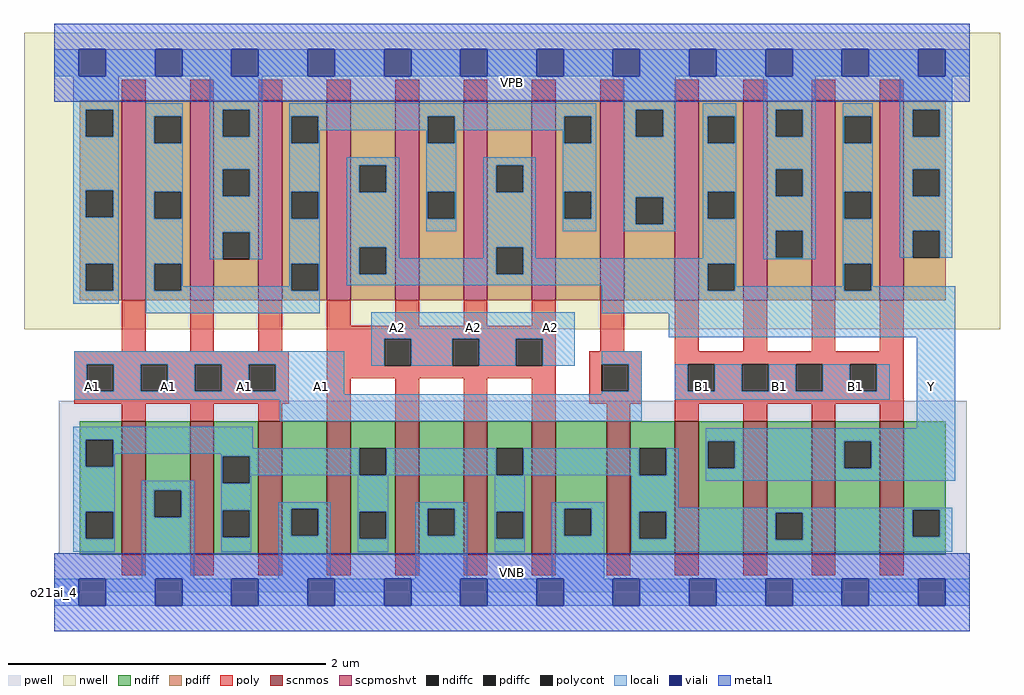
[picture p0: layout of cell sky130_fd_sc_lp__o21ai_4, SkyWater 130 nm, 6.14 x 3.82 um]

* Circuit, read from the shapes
.subckt sky130_fd_sc_lp__o21ai_4 A1 A2 B1 VGND VNB VPB VPWR Y
XM1 VGND A1 n1 VNB sky130_fd_pr__nfet_01v8 w=0.84 l=0.15 m=4
XM2 n1 A2 VGND VNB sky130_fd_pr__nfet_01v8 w=0.84 l=0.15 m=4
XM3 Y B1 n1 VNB sky130_fd_pr__nfet_01v8 w=0.84 l=0.15 m=4
XM4 n2 A1 VPWR VPB sky130_fd_pr__pfet_01v8_hvt w=1.26 l=0.15 m=4
XM5 Y A2 n2 VPB sky130_fd_pr__pfet_01v8_hvt w=1.26 l=0.15 m=4
XM6 Y B1 VPWR VPB sky130_fd_pr__pfet_01v8_hvt w=1.26 l=0.15 m=4
.ends

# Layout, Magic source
magic
tech sky130A
magscale 1 2
<< nwell >>
rect -38 331 1190 704
<< pwell >>
rect 6 49 1148 241
rect 0 0 1152 49
<< scnmos >>
rect 85 47 115 215
rect 171 47 201 215
rect 257 47 287 215
rect 343 47 373 215
rect 429 47 459 215
rect 515 47 545 215
rect 601 47 631 215
rect 695 47 725 215
rect 781 47 811 215
rect 867 47 897 215
rect 953 47 983 215
rect 1039 47 1069 215
<< scpmoshvt >>
rect 85 367 115 619
rect 171 367 201 619
rect 257 367 287 619
rect 343 367 373 619
rect 429 367 459 619
rect 515 367 545 619
rect 601 367 631 619
rect 687 367 717 619
rect 781 367 811 619
rect 867 367 897 619
rect 953 367 983 619
rect 1039 367 1069 619
<< ndiff >>
rect 32 192 85 215
rect 32 158 40 192
rect 74 158 85 192
rect 32 101 85 158
rect 32 67 40 101
rect 74 67 85 101
rect 32 47 85 67
rect 115 128 171 215
rect 115 94 126 128
rect 160 94 171 128
rect 115 47 171 94
rect 201 171 257 215
rect 201 137 212 171
rect 246 137 257 171
rect 201 103 257 137
rect 201 69 212 103
rect 246 69 257 103
rect 201 47 257 69
rect 287 105 343 215
rect 287 71 298 105
rect 332 71 343 105
rect 287 47 343 71
rect 373 181 429 215
rect 373 147 384 181
rect 418 147 429 181
rect 373 101 429 147
rect 373 67 384 101
rect 418 67 429 101
rect 373 47 429 67
rect 459 105 515 215
rect 459 71 470 105
rect 504 71 515 105
rect 459 47 515 71
rect 545 181 601 215
rect 545 147 556 181
rect 590 147 601 181
rect 545 101 601 147
rect 545 67 556 101
rect 590 67 601 101
rect 545 47 601 67
rect 631 105 695 215
rect 631 71 642 105
rect 676 71 695 105
rect 631 47 695 71
rect 725 181 781 215
rect 725 147 736 181
rect 770 147 781 181
rect 725 101 781 147
rect 725 67 736 101
rect 770 67 781 101
rect 725 47 781 67
rect 811 190 867 215
rect 811 156 822 190
rect 856 156 867 190
rect 811 47 867 156
rect 897 100 953 215
rect 897 66 908 100
rect 942 66 953 100
rect 897 47 953 66
rect 983 190 1039 215
rect 983 156 994 190
rect 1028 156 1039 190
rect 983 47 1039 156
rect 1069 104 1122 215
rect 1069 70 1080 104
rect 1114 70 1122 104
rect 1069 47 1122 70
<< pdiff >>
rect 32 607 85 619
rect 32 573 40 607
rect 74 573 85 607
rect 32 506 85 573
rect 32 472 40 506
rect 74 472 85 506
rect 32 413 85 472
rect 32 379 40 413
rect 74 379 85 413
rect 32 367 85 379
rect 115 599 171 619
rect 115 565 126 599
rect 160 565 171 599
rect 115 504 171 565
rect 115 470 126 504
rect 160 470 171 504
rect 115 413 171 470
rect 115 379 126 413
rect 160 379 171 413
rect 115 367 171 379
rect 201 607 257 619
rect 201 573 212 607
rect 246 573 257 607
rect 201 532 257 573
rect 201 498 212 532
rect 246 498 257 532
rect 201 453 257 498
rect 201 419 212 453
rect 246 419 257 453
rect 201 367 257 419
rect 287 599 343 619
rect 287 565 298 599
rect 332 565 343 599
rect 287 504 343 565
rect 287 470 298 504
rect 332 470 343 504
rect 287 413 343 470
rect 287 379 298 413
rect 332 379 343 413
rect 287 367 343 379
rect 373 537 429 619
rect 373 503 384 537
rect 418 503 429 537
rect 373 434 429 503
rect 373 400 384 434
rect 418 400 429 434
rect 373 367 429 400
rect 459 599 515 619
rect 459 565 470 599
rect 504 565 515 599
rect 459 504 515 565
rect 459 470 470 504
rect 504 470 515 504
rect 459 367 515 470
rect 545 537 601 619
rect 545 503 556 537
rect 590 503 601 537
rect 545 434 601 503
rect 545 400 556 434
rect 590 400 601 434
rect 545 367 601 400
rect 631 599 687 619
rect 631 565 642 599
rect 676 565 687 599
rect 631 504 687 565
rect 631 470 642 504
rect 676 470 687 504
rect 631 367 687 470
rect 717 607 781 619
rect 717 573 732 607
rect 766 573 781 607
rect 717 497 781 573
rect 717 463 732 497
rect 766 463 781 497
rect 717 367 781 463
rect 811 599 867 619
rect 811 565 822 599
rect 856 565 867 599
rect 811 504 867 565
rect 811 470 822 504
rect 856 470 867 504
rect 811 413 867 470
rect 811 379 822 413
rect 856 379 867 413
rect 811 367 867 379
rect 897 607 953 619
rect 897 573 908 607
rect 942 573 953 607
rect 897 532 953 573
rect 897 498 908 532
rect 942 498 953 532
rect 897 455 953 498
rect 897 421 908 455
rect 942 421 953 455
rect 897 367 953 421
rect 983 599 1039 619
rect 983 565 994 599
rect 1028 565 1039 599
rect 983 504 1039 565
rect 983 470 994 504
rect 1028 470 1039 504
rect 983 413 1039 470
rect 983 379 994 413
rect 1028 379 1039 413
rect 983 367 1039 379
rect 1069 607 1122 619
rect 1069 573 1080 607
rect 1114 573 1122 607
rect 1069 532 1122 573
rect 1069 498 1080 532
rect 1114 498 1122 532
rect 1069 455 1122 498
rect 1069 421 1080 455
rect 1114 421 1122 455
rect 1069 367 1122 421
<< ndiffc >>
rect 40 158 74 192
rect 40 67 74 101
rect 126 94 160 128
rect 212 137 246 171
rect 212 69 246 103
rect 298 71 332 105
rect 384 147 418 181
rect 384 67 418 101
rect 470 71 504 105
rect 556 147 590 181
rect 556 67 590 101
rect 642 71 676 105
rect 736 147 770 181
rect 736 67 770 101
rect 822 156 856 190
rect 908 66 942 100
rect 994 156 1028 190
rect 1080 70 1114 104
<< pdiffc >>
rect 40 573 74 607
rect 40 472 74 506
rect 40 379 74 413
rect 126 565 160 599
rect 126 470 160 504
rect 126 379 160 413
rect 212 573 246 607
rect 212 498 246 532
rect 212 419 246 453
rect 298 565 332 599
rect 298 470 332 504
rect 298 379 332 413
rect 384 503 418 537
rect 384 400 418 434
rect 470 565 504 599
rect 470 470 504 504
rect 556 503 590 537
rect 556 400 590 434
rect 642 565 676 599
rect 642 470 676 504
rect 732 573 766 607
rect 732 463 766 497
rect 822 565 856 599
rect 822 470 856 504
rect 822 379 856 413
rect 908 573 942 607
rect 908 498 942 532
rect 908 421 942 455
rect 994 565 1028 599
rect 994 470 1028 504
rect 994 379 1028 413
rect 1080 573 1114 607
rect 1080 498 1114 532
rect 1080 421 1114 455
<< poly >>
rect 85 619 115 645
rect 171 619 201 645
rect 257 619 287 645
rect 343 619 373 645
rect 429 619 459 645
rect 515 619 545 645
rect 601 619 631 645
rect 687 619 717 645
rect 781 619 811 645
rect 867 619 897 645
rect 953 619 983 645
rect 1039 619 1069 645
rect 85 303 115 367
rect 171 303 201 367
rect 257 303 287 367
rect 343 335 373 367
rect 429 335 459 367
rect 515 335 545 367
rect 601 335 631 367
rect 343 319 631 335
rect 25 287 295 303
rect 25 253 41 287
rect 75 253 109 287
rect 143 253 177 287
rect 211 253 245 287
rect 279 253 295 287
rect 25 237 295 253
rect 343 285 415 319
rect 449 285 501 319
rect 535 285 581 319
rect 615 285 631 319
rect 687 303 717 367
rect 781 303 811 367
rect 867 303 897 367
rect 953 303 983 367
rect 1039 303 1069 367
rect 343 269 631 285
rect 85 215 115 237
rect 171 215 201 237
rect 257 215 287 237
rect 343 215 373 269
rect 429 215 459 269
rect 515 215 545 269
rect 601 215 631 269
rect 673 287 739 303
rect 673 253 689 287
rect 723 253 739 287
rect 673 237 739 253
rect 781 287 1069 303
rect 781 253 797 287
rect 831 253 865 287
rect 899 253 933 287
rect 967 253 1001 287
rect 1035 253 1069 287
rect 781 237 1069 253
rect 695 215 725 237
rect 781 215 811 237
rect 867 215 897 237
rect 953 215 983 237
rect 1039 215 1069 237
rect 85 21 115 47
rect 171 21 201 47
rect 257 21 287 47
rect 343 21 373 47
rect 429 21 459 47
rect 515 21 545 47
rect 601 21 631 47
rect 695 21 725 47
rect 781 21 811 47
rect 867 21 897 47
rect 953 21 983 47
rect 1039 21 1069 47
<< polycont >>
rect 41 253 75 287
rect 109 253 143 287
rect 177 253 211 287
rect 245 253 279 287
rect 415 285 449 319
rect 501 285 535 319
rect 581 285 615 319
rect 689 253 723 287
rect 797 253 831 287
rect 865 253 899 287
rect 933 253 967 287
rect 1001 253 1035 287
<< locali >>
rect 0 649 31 683
rect 65 649 127 683
rect 161 649 223 683
rect 257 649 319 683
rect 353 649 415 683
rect 449 649 511 683
rect 545 649 607 683
rect 641 649 703 683
rect 737 649 799 683
rect 833 649 895 683
rect 929 649 991 683
rect 1025 649 1087 683
rect 1121 649 1152 683
rect 24 607 81 649
rect 24 573 40 607
rect 74 573 81 607
rect 24 506 81 573
rect 24 472 40 506
rect 74 472 81 506
rect 24 413 81 472
rect 24 379 40 413
rect 74 379 81 413
rect 24 363 81 379
rect 115 599 162 615
rect 115 565 126 599
rect 160 565 162 599
rect 115 504 162 565
rect 115 470 126 504
rect 160 470 162 504
rect 115 413 162 470
rect 196 607 262 649
rect 196 573 212 607
rect 246 573 262 607
rect 196 532 262 573
rect 196 498 212 532
rect 246 498 262 532
rect 196 453 262 498
rect 196 419 212 453
rect 246 419 262 453
rect 296 599 682 615
rect 296 565 298 599
rect 332 581 470 599
rect 332 565 334 581
rect 296 504 334 565
rect 468 565 470 581
rect 504 581 642 599
rect 504 565 506 581
rect 296 470 298 504
rect 332 470 334 504
rect 115 379 126 413
rect 160 385 162 413
rect 296 413 334 470
rect 296 385 298 413
rect 160 379 298 385
rect 332 379 334 413
rect 368 537 434 547
rect 368 503 384 537
rect 418 503 434 537
rect 368 434 434 503
rect 468 504 506 565
rect 640 565 642 581
rect 676 565 682 599
rect 468 470 470 504
rect 504 470 506 504
rect 468 454 506 470
rect 540 537 606 547
rect 540 503 556 537
rect 590 503 606 537
rect 368 400 384 434
rect 418 420 434 434
rect 540 434 606 503
rect 640 504 682 565
rect 640 470 642 504
rect 676 470 682 504
rect 640 454 682 470
rect 716 607 782 649
rect 716 573 732 607
rect 766 573 782 607
rect 716 497 782 573
rect 716 463 732 497
rect 766 463 782 497
rect 716 454 782 463
rect 816 599 858 615
rect 816 565 822 599
rect 856 565 858 599
rect 816 504 858 565
rect 816 470 822 504
rect 856 470 858 504
rect 540 420 556 434
rect 418 400 556 420
rect 590 420 606 434
rect 816 420 858 470
rect 590 413 858 420
rect 892 607 958 649
rect 892 573 908 607
rect 942 573 958 607
rect 892 532 958 573
rect 892 498 908 532
rect 942 498 958 532
rect 892 455 958 498
rect 892 421 908 455
rect 942 421 958 455
rect 892 419 958 421
rect 992 599 1030 615
rect 992 565 994 599
rect 1028 565 1030 599
rect 992 504 1030 565
rect 992 470 994 504
rect 1028 470 1030 504
rect 590 400 822 413
rect 368 386 822 400
rect 115 351 334 379
rect 689 379 822 386
rect 856 385 858 413
rect 992 413 1030 470
rect 1064 607 1130 649
rect 1064 573 1080 607
rect 1114 573 1130 607
rect 1064 532 1130 573
rect 1064 498 1080 532
rect 1114 498 1130 532
rect 1064 455 1130 498
rect 1064 421 1080 455
rect 1114 421 1130 455
rect 992 385 994 413
rect 856 379 994 385
rect 1028 385 1030 413
rect 1028 379 1134 385
rect 399 319 655 352
rect 689 351 1134 379
rect 773 321 1134 351
rect 25 287 365 303
rect 25 253 41 287
rect 75 253 109 287
rect 143 253 177 287
rect 211 253 245 287
rect 279 253 365 287
rect 399 285 415 319
rect 449 285 501 319
rect 535 285 581 319
rect 615 285 655 319
rect 689 287 739 303
rect 25 249 365 253
rect 723 253 739 287
rect 689 249 739 253
rect 25 242 739 249
rect 781 253 797 287
rect 831 253 865 287
rect 899 253 933 287
rect 967 253 1001 287
rect 1035 253 1051 287
rect 781 242 1051 253
rect 284 215 739 242
rect 24 192 250 208
rect 1085 206 1134 321
rect 24 158 40 192
rect 74 181 250 192
rect 820 190 1134 206
rect 74 174 384 181
rect 74 158 76 174
rect 24 101 76 158
rect 210 171 384 174
rect 24 67 40 101
rect 74 67 76 101
rect 24 51 76 67
rect 110 128 176 140
rect 110 94 126 128
rect 160 94 176 128
rect 110 17 176 94
rect 210 137 212 171
rect 246 147 384 171
rect 418 147 556 181
rect 590 147 736 181
rect 770 147 786 181
rect 246 137 248 147
rect 210 103 248 137
rect 210 69 212 103
rect 246 69 248 103
rect 210 51 248 69
rect 282 105 348 113
rect 282 71 298 105
rect 332 71 348 105
rect 282 17 348 71
rect 382 101 420 147
rect 382 67 384 101
rect 418 67 420 101
rect 382 51 420 67
rect 454 105 520 113
rect 454 71 470 105
rect 504 71 520 105
rect 454 17 520 71
rect 554 101 592 147
rect 554 67 556 101
rect 590 67 592 101
rect 554 51 592 67
rect 626 105 692 113
rect 626 71 642 105
rect 676 71 692 105
rect 626 17 692 71
rect 726 106 786 147
rect 820 156 822 190
rect 856 156 994 190
rect 1028 156 1134 190
rect 820 140 1134 156
rect 726 104 1130 106
rect 726 101 1080 104
rect 726 67 736 101
rect 770 100 1080 101
rect 770 67 908 100
rect 726 66 908 67
rect 942 70 1080 100
rect 1114 70 1130 104
rect 942 66 1130 70
rect 726 51 1130 66
rect 0 -17 31 17
rect 65 -17 127 17
rect 161 -17 223 17
rect 257 -17 319 17
rect 353 -17 415 17
rect 449 -17 511 17
rect 545 -17 607 17
rect 641 -17 703 17
rect 737 -17 799 17
rect 833 -17 895 17
rect 929 -17 991 17
rect 1025 -17 1087 17
rect 1121 -17 1152 17
<< viali >>
rect 31 649 65 683
rect 127 649 161 683
rect 223 649 257 683
rect 319 649 353 683
rect 415 649 449 683
rect 511 649 545 683
rect 607 649 641 683
rect 703 649 737 683
rect 799 649 833 683
rect 895 649 929 683
rect 991 649 1025 683
rect 1087 649 1121 683
rect 31 -17 65 17
rect 127 -17 161 17
rect 223 -17 257 17
rect 319 -17 353 17
rect 415 -17 449 17
rect 511 -17 545 17
rect 607 -17 641 17
rect 703 -17 737 17
rect 799 -17 833 17
rect 895 -17 929 17
rect 991 -17 1025 17
rect 1087 -17 1121 17
<< metal1 >>
rect 0 683 1152 715
rect 0 649 31 683
rect 65 649 127 683
rect 161 649 223 683
rect 257 649 319 683
rect 353 649 415 683
rect 449 649 511 683
rect 545 649 607 683
rect 641 649 703 683
rect 737 649 799 683
rect 833 649 895 683
rect 929 649 991 683
rect 1025 649 1087 683
rect 1121 649 1152 683
rect 0 617 1152 649
rect 0 17 1152 49
rect 0 -17 31 17
rect 65 -17 127 17
rect 161 -17 223 17
rect 257 -17 319 17
rect 353 -17 415 17
rect 449 -17 511 17
rect 545 -17 607 17
rect 641 -17 703 17
rect 737 -17 799 17
rect 833 -17 895 17
rect 929 -17 991 17
rect 1025 -17 1087 17
rect 1121 -17 1152 17
rect 0 -49 1152 -17
<< labels >>
flabel pwell s 0 0 1152 49 0 FreeSans 200 0 0 0 VNB
port 5 nsew ground bidirectional
flabel nwell s 0 617 1152 666 0 FreeSans 200 0 0 0 VPB
port 6 nsew power bidirectional
rlabel comment s 0 0 0 0 4 o21ai_4
flabel metal1 s 0 617 1152 666 0 FreeSans 340 0 0 0 VPWR
port 7 nsew power bidirectional
flabel metal1 s 0 0 1152 49 0 FreeSans 340 0 0 0 VGND
port 4 nsew ground bidirectional
flabel locali s 31 242 65 276 0 FreeSans 340 0 0 0 A1
port 1 nsew signal input
flabel locali s 127 242 161 276 0 FreeSans 340 0 0 0 A1
port 1 nsew signal input
flabel locali s 223 242 257 276 0 FreeSans 340 0 0 0 A1
port 1 nsew signal input
flabel locali s 319 242 353 276 0 FreeSans 340 0 0 0 A1
port 1 nsew signal input
flabel locali s 415 316 449 350 0 FreeSans 340 0 0 0 A2
port 2 nsew signal input
flabel locali s 511 316 545 350 0 FreeSans 340 0 0 0 A2
port 2 nsew signal input
flabel locali s 607 316 641 350 0 FreeSans 340 0 0 0 A2
port 2 nsew signal input
flabel locali s 799 242 833 276 0 FreeSans 340 0 0 0 B1
port 3 nsew signal input
flabel locali s 895 242 929 276 0 FreeSans 340 0 0 0 B1
port 3 nsew signal input
flabel locali s 991 242 1025 276 0 FreeSans 340 0 0 0 B1
port 3 nsew signal input
flabel locali s 1087 242 1121 276 0 FreeSans 340 0 0 0 Y
port 8 nsew signal output
<< properties >>
string LEFsite unit
string LEFclass CORE
string FIXED_BBOX 0 0 1152 666
string GDS_FILE $PDKPATH/libs.ref/sky130_fd_sc_lp/gds/sky130_fd_sc_lp.gds
string LEFsymmetry X Y R90
string GDS_END 4664720
string GDS_START 4654152
<< end >>
